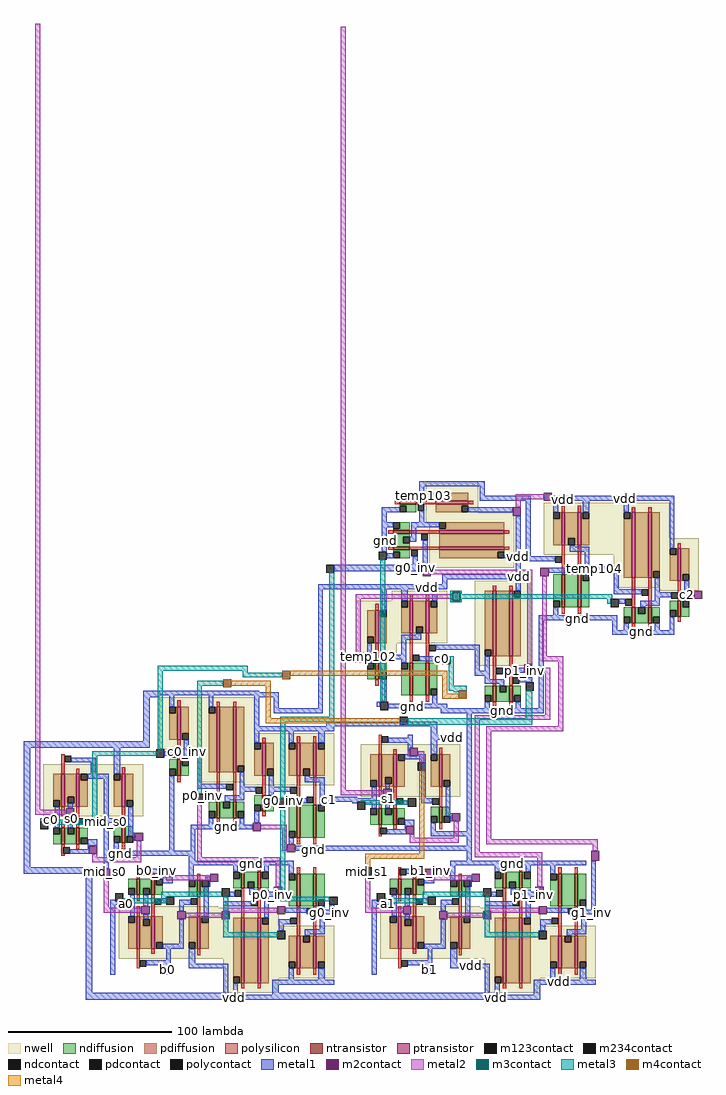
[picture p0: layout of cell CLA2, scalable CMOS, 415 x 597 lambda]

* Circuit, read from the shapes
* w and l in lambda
.subckt CLA2 a0 a1 b0 b0_inv b1 b1_inv c0 c0_inv c1 c2 g0_inv g1_inv gnd mid_s0 mid_s1 p0_inv p1_inv s0 s1 temp100 temp101 temp102 temp103 temp104 vdd
M1 s0 n1 c0 VSUBS nfet w=10 l=2
M2 n1 c0 s0 VSUBS nfet w=10 l=2
M3 n1 mid_s0 gnd VSUBS nfet w=10 l=2
M4 mid_s0 b0_inv a0 VSUBS nfet w=10 l=2
M5 b0_inv a0 mid_s0 VSUBS nfet w=10 l=2
M6 c0_inv c0 gnd VSUBS nfet w=10 l=2
M7 b0_inv b0 gnd VSUBS nfet w=10 l=2
M8 n2 p0_inv gnd VSUBS nfet w=10 l=2
M9 gnd c0_inv n2 VSUBS nfet w=10 l=2
M10 p0_inv a0 gnd VSUBS nfet w=10 l=2
M11 gnd b0 p0_inv VSUBS nfet w=10 l=2
M12 temp100 n2 gnd VSUBS nfet w=10 l=2
M13 n3 a0 gnd VSUBS nfet w=20 l=2
M14 n4 temp100 gnd VSUBS nfet w=20 l=2
M15 g0_inv b0 n3 VSUBS nfet w=20 l=2
M16 c1 g0_inv n4 VSUBS nfet w=20 l=2
M17 gnd n5 temp102 VSUBS nfet w=10 l=2
M18 s1 n6 c1 VSUBS nfet w=10 l=2
M19 n6 c1 s1 VSUBS nfet w=10 l=2
M20 n7 g0_inv gnd VSUBS nfet w=10 l=2
M21 gnd p1_inv n7 VSUBS nfet w=10 l=2
M22 mid_s1 b1_inv a1 VSUBS nfet w=10 l=2
M23 temp103 n7 gnd VSUBS nfet w=10 l=2
M24 n8 c0 n5 VSUBS nfet w=20 l=2
M25 b1_inv a1 mid_s1 VSUBS nfet w=10 l=2
M26 gnd temp101 n8 VSUBS nfet w=20 l=2
M27 n6 mid_s1 gnd VSUBS nfet w=10 l=2
M28 b1_inv b1 gnd VSUBS nfet w=10 l=2
M29 temp101 p1_inv gnd VSUBS nfet w=10 l=2
M30 p1_inv a1 gnd VSUBS nfet w=10 l=2
M31 gnd p0_inv temp101 VSUBS nfet w=10 l=2
M32 gnd b1 p1_inv VSUBS nfet w=10 l=2
M33 n9 a1 gnd VSUBS nfet w=20 l=2
M34 n10 temp103 gnd VSUBS nfet w=20 l=2
M35 g1_inv b1 n9 VSUBS nfet w=20 l=2
M36 temp104 g1_inv n10 VSUBS nfet w=20 l=2
M37 n11 temp102 gnd VSUBS nfet w=10 l=2
M38 gnd temp104 n11 VSUBS nfet w=10 l=2
M39 c2 n11 gnd VSUBS nfet w=10 l=2
M40 s0 mid_s0 c0 n12 pfet w=20 l=2
M41 mid_s0 c0 s0 n12 pfet w=20 l=2
M42 n1 mid_s0 vdd n12 pfet w=20 l=2
M43 mid_s0 b0 a0 n13 pfet w=20 l=2
M44 b0 a0 mid_s0 n13 pfet w=20 l=2
M45 c0_inv c0 vdd n14 pfet w=20 l=2
M46 b0_inv b0 vdd n13 pfet w=20 l=2
M47 n15 p0_inv vdd n14 pfet w=40 l=2
M48 n2 c0_inv n15 n14 pfet w=40 l=2
M49 n16 a0 vdd n13 pfet w=40 l=2
M50 p0_inv b0 n16 n13 pfet w=40 l=2
M51 temp100 n2 vdd n14 pfet w=20 l=2
M52 g0_inv a0 vdd n13 pfet w=20 l=2
M53 c1 temp100 vdd n14 pfet w=20 l=2
M54 vdd b0 g0_inv n13 pfet w=20 l=2
M55 vdd g0_inv c1 n14 pfet w=20 l=2
M56 vdd n5 temp102 n17 pfet w=20 l=2
M57 s1 mid_s1 c1 n18 pfet w=20 l=2
M58 mid_s1 c1 s1 n18 pfet w=20 l=2
M59 mid_s1 b1 a1 n19 pfet w=20 l=2
M60 n5 c0 vdd n17 pfet w=20 l=2
M61 b1 a1 mid_s1 n19 pfet w=20 l=2
M62 vdd temp101 n5 n17 pfet w=20 l=2
M63 temp103 n7 vdd n20 pfet w=20 l=2
M64 n6 mid_s1 vdd n18 pfet w=20 l=2
M65 n21 g0_inv vdd n20 pfet w=40 l=2
M66 n7 p1_inv n21 n20 pfet w=40 l=2
M67 b1_inv b1 vdd n19 pfet w=20 l=2
M68 n22 p1_inv temp101 n23 pfet w=40 l=2
M69 n24 a1 vdd n19 pfet w=40 l=2
M70 vdd p0_inv n22 n23 pfet w=40 l=2
M71 p1_inv b1 n24 n19 pfet w=40 l=2
M72 g1_inv a1 vdd n19 pfet w=20 l=2
M73 temp104 temp103 vdd n25 pfet w=20 l=2
M74 vdd b1 g1_inv n19 pfet w=20 l=2
M75 vdd g1_inv temp104 n25 pfet w=20 l=2
M76 n26 temp102 vdd n25 pfet w=40 l=2
M77 n11 temp104 n26 n25 pfet w=40 l=2
M78 c2 n11 vdd n25 pfet w=20 l=2
.ends

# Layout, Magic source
magic
tech scmos
<< nwell >>
rect -389 279 -357 298
rect -389 273 -335 279
rect -387 245 -335 273
rect -317 263 -240 285
rect -317 253 -222 263
rect -410 225 -376 231
rect -432 199 -376 225
rect -432 193 -407 199
rect -359 185 -325 237
rect -274 233 -222 253
rect -246 231 -222 233
rect -552 144 -494 166
rect -552 134 -445 144
rect -623 93 -562 125
rect -528 114 -445 134
rect -500 112 -445 114
rect -429 105 -368 137
rect -577 37 -516 38
rect -417 37 -356 38
rect -577 26 -479 37
rect -417 26 -319 37
rect -577 6 -445 26
rect -417 6 -285 26
rect -513 -6 -445 6
rect -353 -6 -285 6
rect -513 -15 -479 -6
rect -353 -15 -319 -6
<< ntransistor >>
rect -405 284 -395 286
rect -409 266 -399 268
rect -409 256 -399 258
rect -306 221 -304 241
rect -296 221 -294 241
rect -263 211 -261 221
rect -253 211 -251 221
rect -235 215 -233 225
rect -420 177 -418 187
rect -399 167 -397 187
rect -389 167 -387 187
rect -348 163 -346 173
rect -338 163 -336 173
rect -541 118 -539 128
rect -517 92 -515 102
rect -507 92 -505 102
rect -489 96 -487 106
rect -612 76 -610 86
rect -603 76 -601 86
rect -575 77 -573 87
rect -468 80 -466 100
rect -458 80 -456 100
rect -418 88 -416 98
rect -409 88 -407 98
rect -381 89 -379 99
rect -566 45 -564 55
rect -557 45 -555 55
rect -529 44 -527 54
rect -502 49 -500 59
rect -492 49 -490 59
rect -468 38 -466 58
rect -458 38 -456 58
rect -406 45 -404 55
rect -397 45 -395 55
rect -369 44 -367 54
rect -342 49 -340 59
rect -332 49 -330 59
rect -308 38 -306 58
rect -298 38 -296 58
<< ptransistor >>
rect -383 284 -363 286
rect -381 266 -341 268
rect -306 259 -304 279
rect -296 259 -294 279
rect -381 256 -341 258
rect -420 199 -418 219
rect -399 205 -397 225
rect -389 205 -387 225
rect -348 191 -346 231
rect -338 191 -336 231
rect -263 239 -261 279
rect -253 239 -251 279
rect -235 237 -233 257
rect -541 140 -539 160
rect -612 99 -610 119
rect -603 99 -601 119
rect -575 99 -573 119
rect -517 120 -515 160
rect -507 120 -505 160
rect -489 118 -487 138
rect -468 118 -466 138
rect -458 118 -456 138
rect -418 111 -416 131
rect -409 111 -407 131
rect -381 111 -379 131
rect -566 12 -564 32
rect -557 12 -555 32
rect -529 12 -527 32
rect -502 -9 -500 31
rect -492 -9 -490 31
rect -468 0 -466 20
rect -458 0 -456 20
rect -406 12 -404 32
rect -397 12 -395 32
rect -369 12 -367 32
rect -342 -9 -340 31
rect -332 -9 -330 31
rect -308 0 -306 20
rect -298 0 -296 20
<< ndiffusion >>
rect -405 287 -399 291
rect -405 286 -395 287
rect -405 283 -395 284
rect -401 279 -395 283
rect -405 269 -399 273
rect -409 268 -399 269
rect -409 264 -399 266
rect -409 260 -403 264
rect -409 258 -399 260
rect -409 255 -399 256
rect -405 251 -399 255
rect -311 225 -306 241
rect -307 221 -306 225
rect -304 221 -296 241
rect -294 237 -293 241
rect -294 221 -289 237
rect -268 215 -263 221
rect -264 211 -263 215
rect -261 217 -259 221
rect -255 217 -253 221
rect -261 211 -253 217
rect -251 215 -246 221
rect -240 219 -235 225
rect -236 215 -235 219
rect -233 221 -232 225
rect -233 215 -228 221
rect -251 211 -250 215
rect -421 183 -420 187
rect -425 177 -420 183
rect -418 181 -413 187
rect -418 177 -417 181
rect -400 183 -399 187
rect -404 167 -399 183
rect -397 167 -389 187
rect -387 171 -382 187
rect -387 167 -386 171
rect -353 167 -348 173
rect -349 163 -348 167
rect -346 169 -344 173
rect -340 169 -338 173
rect -346 163 -338 169
rect -336 167 -331 173
rect -336 163 -335 167
rect -546 122 -541 128
rect -542 118 -541 122
rect -539 124 -538 128
rect -539 118 -534 124
rect -522 96 -517 102
rect -518 92 -517 96
rect -515 98 -513 102
rect -509 98 -507 102
rect -515 92 -507 98
rect -505 96 -500 102
rect -494 100 -489 106
rect -490 96 -489 100
rect -487 102 -486 106
rect -487 96 -482 102
rect -505 92 -504 96
rect -613 82 -612 86
rect -617 76 -612 82
rect -610 82 -608 86
rect -604 82 -603 86
rect -610 76 -603 82
rect -601 80 -596 86
rect -601 76 -600 80
rect -580 81 -575 87
rect -576 77 -575 81
rect -573 81 -568 87
rect -573 77 -572 81
rect -473 84 -468 100
rect -469 80 -468 84
rect -466 80 -458 100
rect -456 96 -455 100
rect -456 80 -451 96
rect -419 94 -418 98
rect -423 88 -418 94
rect -416 94 -414 98
rect -410 94 -409 98
rect -416 88 -409 94
rect -407 92 -402 98
rect -407 88 -406 92
rect -386 93 -381 99
rect -382 89 -381 93
rect -379 93 -374 99
rect -379 89 -378 93
rect -571 49 -566 55
rect -567 45 -566 49
rect -564 49 -557 55
rect -564 45 -562 49
rect -558 45 -557 49
rect -555 51 -554 55
rect -503 55 -502 59
rect -555 45 -550 51
rect -530 50 -529 54
rect -534 44 -529 50
rect -527 50 -526 54
rect -527 44 -522 50
rect -507 49 -502 55
rect -500 53 -492 59
rect -500 49 -498 53
rect -494 49 -492 53
rect -490 55 -489 59
rect -490 49 -485 55
rect -469 54 -468 58
rect -473 38 -468 54
rect -466 38 -458 58
rect -456 42 -451 58
rect -411 49 -406 55
rect -407 45 -406 49
rect -404 49 -397 55
rect -404 45 -402 49
rect -398 45 -397 49
rect -395 51 -394 55
rect -343 55 -342 59
rect -395 45 -390 51
rect -370 50 -369 54
rect -456 38 -455 42
rect -374 44 -369 50
rect -367 50 -366 54
rect -367 44 -362 50
rect -347 49 -342 55
rect -340 53 -332 59
rect -340 49 -338 53
rect -334 49 -332 53
rect -330 55 -329 59
rect -330 49 -325 55
rect -309 54 -308 58
rect -313 38 -308 54
rect -306 38 -298 58
rect -296 42 -291 58
rect -296 38 -295 42
<< pdiffusion >>
rect -379 287 -363 291
rect -383 286 -363 287
rect -383 283 -363 284
rect -383 279 -367 283
rect -307 275 -306 279
rect -377 269 -341 273
rect -381 268 -341 269
rect -381 258 -341 266
rect -311 259 -306 275
rect -304 263 -296 279
rect -304 259 -302 263
rect -298 259 -296 263
rect -294 275 -293 279
rect -294 259 -289 275
rect -264 275 -263 279
rect -381 255 -341 256
rect -381 251 -345 255
rect -400 221 -399 225
rect -425 203 -420 219
rect -421 199 -420 203
rect -418 215 -417 219
rect -418 199 -413 215
rect -404 205 -399 221
rect -397 209 -389 225
rect -397 205 -395 209
rect -391 205 -389 209
rect -387 221 -386 225
rect -387 205 -382 221
rect -353 195 -348 231
rect -349 191 -348 195
rect -346 191 -338 231
rect -336 227 -335 231
rect -336 191 -331 227
rect -268 239 -263 275
rect -261 239 -253 279
rect -251 243 -246 279
rect -251 239 -250 243
rect -236 253 -235 257
rect -240 237 -235 253
rect -233 241 -228 257
rect -233 237 -232 241
rect -542 156 -541 160
rect -546 140 -541 156
rect -539 144 -534 160
rect -539 140 -538 144
rect -518 156 -517 160
rect -617 103 -612 119
rect -613 99 -612 103
rect -610 105 -603 119
rect -610 101 -608 105
rect -604 101 -603 105
rect -610 99 -603 101
rect -601 115 -600 119
rect -601 99 -596 115
rect -576 115 -575 119
rect -580 99 -575 115
rect -573 103 -568 119
rect -522 120 -517 156
rect -515 120 -507 160
rect -505 124 -500 160
rect -505 120 -504 124
rect -490 134 -489 138
rect -573 99 -572 103
rect -494 118 -489 134
rect -487 122 -482 138
rect -487 118 -486 122
rect -469 134 -468 138
rect -473 118 -468 134
rect -466 122 -458 138
rect -466 118 -464 122
rect -460 118 -458 122
rect -456 134 -455 138
rect -456 118 -451 134
rect -423 115 -418 131
rect -419 111 -418 115
rect -416 117 -409 131
rect -416 113 -414 117
rect -410 113 -409 117
rect -416 111 -409 113
rect -407 127 -406 131
rect -407 111 -402 127
rect -382 127 -381 131
rect -386 111 -381 127
rect -379 115 -374 131
rect -379 111 -378 115
rect -567 28 -566 32
rect -571 12 -566 28
rect -564 30 -557 32
rect -564 26 -562 30
rect -558 26 -557 30
rect -564 12 -557 26
rect -555 16 -550 32
rect -555 12 -554 16
rect -534 16 -529 32
rect -530 12 -529 16
rect -527 28 -526 32
rect -527 12 -522 28
rect -507 -5 -502 31
rect -503 -9 -502 -5
rect -500 -9 -492 31
rect -490 27 -489 31
rect -490 -9 -485 27
rect -407 28 -406 32
rect -473 4 -468 20
rect -469 0 -468 4
rect -466 16 -464 20
rect -460 16 -458 20
rect -466 0 -458 16
rect -456 4 -451 20
rect -411 12 -406 28
rect -404 30 -397 32
rect -404 26 -402 30
rect -398 26 -397 30
rect -404 12 -397 26
rect -395 16 -390 32
rect -395 12 -394 16
rect -374 16 -369 32
rect -370 12 -369 16
rect -367 28 -366 32
rect -367 12 -362 28
rect -456 0 -455 4
rect -347 -5 -342 31
rect -343 -9 -342 -5
rect -340 -9 -332 31
rect -330 27 -329 31
rect -330 -9 -325 27
rect -313 4 -308 20
rect -309 0 -308 4
rect -306 16 -304 20
rect -300 16 -298 20
rect -306 0 -298 16
rect -296 4 -291 20
rect -296 0 -295 4
<< ndcontact >>
rect -399 287 -395 291
rect -405 279 -401 283
rect -409 269 -405 273
rect -403 260 -399 264
rect -409 251 -405 255
rect -311 221 -307 225
rect -293 237 -289 241
rect -268 211 -264 215
rect -259 217 -255 221
rect -240 215 -236 219
rect -232 221 -228 225
rect -250 211 -246 215
rect -425 183 -421 187
rect -417 177 -413 181
rect -404 183 -400 187
rect -386 167 -382 171
rect -353 163 -349 167
rect -344 169 -340 173
rect -335 163 -331 167
rect -546 118 -542 122
rect -538 124 -534 128
rect -522 92 -518 96
rect -513 98 -509 102
rect -494 96 -490 100
rect -486 102 -482 106
rect -504 92 -500 96
rect -617 82 -613 86
rect -608 82 -604 86
rect -600 76 -596 80
rect -580 77 -576 81
rect -572 77 -568 81
rect -473 80 -469 84
rect -455 96 -451 100
rect -423 94 -419 98
rect -414 94 -410 98
rect -406 88 -402 92
rect -386 89 -382 93
rect -378 89 -374 93
rect -571 45 -567 49
rect -562 45 -558 49
rect -554 51 -550 55
rect -507 55 -503 59
rect -534 50 -530 54
rect -526 50 -522 54
rect -498 49 -494 53
rect -489 55 -485 59
rect -473 54 -469 58
rect -411 45 -407 49
rect -402 45 -398 49
rect -394 51 -390 55
rect -347 55 -343 59
rect -374 50 -370 54
rect -455 38 -451 42
rect -366 50 -362 54
rect -338 49 -334 53
rect -329 55 -325 59
rect -313 54 -309 58
rect -295 38 -291 42
<< pdcontact >>
rect -383 287 -379 291
rect -367 279 -363 283
rect -311 275 -307 279
rect -381 269 -377 273
rect -302 259 -298 263
rect -293 275 -289 279
rect -268 275 -264 279
rect -345 251 -341 255
rect -404 221 -400 225
rect -425 199 -421 203
rect -417 215 -413 219
rect -395 205 -391 209
rect -386 221 -382 225
rect -353 191 -349 195
rect -335 227 -331 231
rect -250 239 -246 243
rect -240 253 -236 257
rect -232 237 -228 241
rect -546 156 -542 160
rect -538 140 -534 144
rect -522 156 -518 160
rect -617 99 -613 103
rect -608 101 -604 105
rect -600 115 -596 119
rect -580 115 -576 119
rect -504 120 -500 124
rect -494 134 -490 138
rect -572 99 -568 103
rect -486 118 -482 122
rect -473 134 -469 138
rect -464 118 -460 122
rect -455 134 -451 138
rect -423 111 -419 115
rect -414 113 -410 117
rect -406 127 -402 131
rect -386 127 -382 131
rect -378 111 -374 115
rect -571 28 -567 32
rect -562 26 -558 30
rect -554 12 -550 16
rect -534 12 -530 16
rect -526 28 -522 32
rect -507 -9 -503 -5
rect -489 27 -485 31
rect -411 28 -407 32
rect -473 0 -469 4
rect -464 16 -460 20
rect -402 26 -398 30
rect -394 12 -390 16
rect -374 12 -370 16
rect -366 28 -362 32
rect -455 0 -451 4
rect -347 -9 -343 -5
rect -329 27 -325 31
rect -313 0 -309 4
rect -304 16 -300 20
rect -295 0 -291 4
<< polysilicon >>
rect -408 284 -405 286
rect -395 284 -383 286
rect -363 284 -360 286
rect -306 279 -304 283
rect -296 279 -294 283
rect -263 279 -261 282
rect -253 279 -251 282
rect -412 266 -409 268
rect -399 266 -381 268
rect -341 266 -338 268
rect -412 256 -409 258
rect -399 256 -381 258
rect -341 256 -338 258
rect -306 241 -304 259
rect -296 241 -294 259
rect -348 231 -346 234
rect -338 231 -336 234
rect -399 225 -397 229
rect -389 225 -387 229
rect -420 219 -418 223
rect -420 187 -418 199
rect -399 187 -397 205
rect -389 187 -387 205
rect -235 257 -233 260
rect -263 221 -261 239
rect -253 221 -251 239
rect -235 225 -233 237
rect -306 217 -304 221
rect -296 217 -294 221
rect -235 212 -233 215
rect -263 208 -261 211
rect -253 208 -251 211
rect -420 173 -418 177
rect -348 173 -346 191
rect -338 173 -336 191
rect -541 160 -539 164
rect -399 163 -397 167
rect -389 163 -387 167
rect -517 160 -515 163
rect -507 160 -505 163
rect -348 160 -346 163
rect -338 160 -336 163
rect -612 119 -610 131
rect -541 128 -539 140
rect -603 119 -601 122
rect -575 119 -573 123
rect -489 138 -487 141
rect -468 138 -466 142
rect -458 138 -456 142
rect -541 114 -539 118
rect -517 102 -515 120
rect -507 102 -505 120
rect -418 131 -416 143
rect -409 131 -407 134
rect -381 131 -379 135
rect -489 106 -487 118
rect -612 93 -610 99
rect -612 86 -610 90
rect -603 86 -601 99
rect -575 87 -573 99
rect -468 100 -466 118
rect -458 100 -456 118
rect -418 105 -416 111
rect -489 93 -487 96
rect -517 89 -515 92
rect -507 89 -505 92
rect -418 98 -416 102
rect -409 98 -407 111
rect -381 99 -379 111
rect -418 86 -416 88
rect -418 82 -417 86
rect -409 85 -407 88
rect -381 85 -379 89
rect -418 81 -416 82
rect -612 74 -610 76
rect -612 70 -611 74
rect -603 73 -601 76
rect -575 73 -573 77
rect -468 76 -466 80
rect -458 76 -456 80
rect -612 69 -610 70
rect -566 61 -564 62
rect -566 57 -565 61
rect -502 59 -500 62
rect -492 59 -490 62
rect -566 55 -564 57
rect -557 55 -555 58
rect -529 54 -527 58
rect -566 41 -564 45
rect -566 32 -564 38
rect -557 32 -555 45
rect -468 58 -466 62
rect -458 58 -456 62
rect -406 61 -404 62
rect -529 32 -527 44
rect -502 31 -500 49
rect -492 31 -490 49
rect -406 57 -405 61
rect -342 59 -340 62
rect -332 59 -330 62
rect -406 55 -404 57
rect -397 55 -395 58
rect -369 54 -367 58
rect -406 41 -404 45
rect -566 0 -564 12
rect -557 9 -555 12
rect -529 8 -527 12
rect -468 20 -466 38
rect -458 20 -456 38
rect -406 32 -404 38
rect -397 32 -395 45
rect -308 58 -306 62
rect -298 58 -296 62
rect -369 32 -367 44
rect -342 31 -340 49
rect -332 31 -330 49
rect -406 0 -404 12
rect -397 9 -395 12
rect -369 8 -367 12
rect -468 -4 -466 0
rect -458 -4 -456 0
rect -308 20 -306 38
rect -298 20 -296 38
rect -308 -4 -306 0
rect -298 -4 -296 0
rect -502 -12 -500 -9
rect -492 -12 -490 -9
rect -342 -12 -340 -9
rect -332 -12 -330 -9
<< polycontact >>
rect -394 280 -390 284
rect -392 262 -388 266
rect -398 252 -394 256
rect -310 248 -306 252
rect -300 242 -296 246
rect -418 188 -414 192
rect -397 188 -393 192
rect -387 194 -383 198
rect -267 222 -263 226
rect -257 228 -253 232
rect -239 226 -235 230
rect -346 180 -342 184
rect -336 174 -332 178
rect -610 126 -606 130
rect -545 129 -541 133
rect -521 103 -517 107
rect -511 109 -507 113
rect -416 138 -412 142
rect -493 107 -489 111
rect -472 107 -468 111
rect -601 88 -597 92
rect -579 88 -575 92
rect -462 101 -458 105
rect -407 100 -403 104
rect -385 100 -381 104
rect -417 82 -413 86
rect -611 70 -607 74
rect -565 57 -561 61
rect -506 44 -502 48
rect -555 39 -551 43
rect -533 39 -529 43
rect -496 38 -492 42
rect -405 57 -401 61
rect -564 1 -560 5
rect -472 27 -468 31
rect -462 33 -458 37
rect -346 44 -342 48
rect -395 39 -391 43
rect -373 39 -369 43
rect -336 38 -332 42
rect -404 1 -400 5
rect -312 27 -308 31
rect -302 33 -298 37
<< metal1 >>
rect -393 295 -353 298
rect -393 291 -390 295
rect -395 288 -383 291
rect -356 289 -353 295
rect -356 286 -325 289
rect -312 286 -237 289
rect -416 279 -405 282
rect -416 273 -413 279
rect -393 273 -390 280
rect -363 279 -336 282
rect -416 270 -409 273
rect -416 255 -413 270
rect -398 270 -381 273
rect -398 264 -395 270
rect -399 261 -395 264
rect -413 251 -409 254
rect -397 247 -394 252
rect -445 243 -394 247
rect -391 245 -388 262
rect -334 254 -331 277
rect -341 251 -331 254
rect -334 241 -331 251
rect -328 252 -325 286
rect -311 279 -308 286
rect -293 279 -289 286
rect -268 279 -265 286
rect -301 258 -298 259
rect -301 255 -289 258
rect -328 249 -310 252
rect -292 246 -289 255
rect -240 257 -237 286
rect -379 238 -331 241
rect -314 242 -300 245
rect -292 243 -271 246
rect -292 241 -289 243
rect -379 235 -376 238
rect -455 232 -376 235
rect -562 169 -491 170
rect -562 167 -479 169
rect -562 166 -552 167
rect -562 139 -558 166
rect -546 160 -543 167
rect -522 160 -519 167
rect -494 166 -479 167
rect -494 148 -491 166
rect -482 159 -479 166
rect -455 159 -452 232
rect -416 219 -413 232
rect -404 225 -400 232
rect -385 225 -382 232
rect -334 231 -331 238
rect -274 232 -271 243
rect -274 229 -257 232
rect -249 230 -246 239
rect -231 230 -228 237
rect -249 227 -239 230
rect -271 223 -267 226
rect -249 225 -246 227
rect -231 227 -225 230
rect -231 225 -228 227
rect -258 222 -246 225
rect -258 221 -255 222
rect -311 216 -308 221
rect -320 213 -272 216
rect -395 204 -392 205
rect -404 201 -392 204
rect -425 192 -422 199
rect -404 192 -401 201
rect -383 195 -356 198
rect -428 189 -422 192
rect -425 187 -422 189
rect -414 189 -401 192
rect -404 187 -401 189
rect -393 188 -379 191
rect -359 182 -356 195
rect -353 182 -350 191
rect -359 179 -350 182
rect -342 181 -329 184
rect -416 163 -413 177
rect -353 177 -350 179
rect -353 174 -341 177
rect -332 175 -324 178
rect -344 173 -341 174
rect -419 160 -417 163
rect -482 156 -452 159
rect -385 162 -382 167
rect -412 159 -376 162
rect -353 159 -350 163
rect -334 159 -331 163
rect -320 159 -317 213
rect -275 207 -272 213
rect -268 207 -265 211
rect -249 207 -246 211
rect -240 207 -237 215
rect -275 204 -237 207
rect -380 156 -317 159
rect -450 148 -382 151
rect -494 145 -445 148
rect -635 135 -558 139
rect -635 62 -631 135
rect -606 126 -591 129
rect -594 119 -591 126
rect -580 119 -576 135
rect -537 133 -534 140
rect -494 138 -491 145
rect -473 138 -470 145
rect -455 138 -451 145
rect -386 143 -382 148
rect -400 141 -397 143
rect -412 138 -397 141
rect -400 135 -397 138
rect -386 140 -367 143
rect -549 130 -545 133
rect -537 130 -526 133
rect -400 131 -399 135
rect -537 128 -534 130
rect -596 116 -583 119
rect -616 92 -613 99
rect -608 98 -605 101
rect -625 90 -613 92
rect -620 89 -613 90
rect -616 86 -613 89
rect -608 86 -605 93
rect -586 92 -583 116
rect -597 88 -594 91
rect -586 89 -579 92
rect -596 75 -590 79
rect -596 73 -595 75
rect -607 70 -595 73
rect -635 58 -593 62
rect -586 61 -583 89
rect -571 83 -568 99
rect -571 81 -567 83
rect -568 78 -567 81
rect -580 72 -577 77
rect -546 72 -543 118
rect -529 113 -526 130
rect -402 130 -399 131
rect -386 131 -382 140
rect -394 130 -389 131
rect -402 128 -389 130
rect -529 110 -511 113
rect -503 111 -500 120
rect -485 111 -482 118
rect -463 117 -460 118
rect -463 114 -451 117
rect -503 108 -493 111
rect -524 104 -521 107
rect -503 106 -500 108
rect -485 108 -472 111
rect -485 106 -482 108
rect -512 103 -500 106
rect -512 102 -509 103
rect -454 105 -451 114
rect -474 101 -462 104
rect -454 104 -431 105
rect -422 104 -419 111
rect -414 110 -411 113
rect -454 102 -419 104
rect -454 100 -451 102
rect -434 101 -431 102
rect -426 101 -419 102
rect -422 98 -419 101
rect -522 88 -519 92
rect -503 88 -500 92
rect -494 89 -491 96
rect -414 98 -411 105
rect -392 104 -389 128
rect -403 100 -400 103
rect -392 101 -385 104
rect -377 95 -374 111
rect -377 93 -373 95
rect -533 85 -495 88
rect -533 72 -530 85
rect -402 87 -396 91
rect -402 85 -401 87
rect -413 82 -401 85
rect -374 90 -373 93
rect -386 84 -383 89
rect -364 84 -361 156
rect -386 81 -361 84
rect -473 76 -470 80
rect -580 69 -530 72
rect -364 75 -361 81
rect -469 72 -361 75
rect -534 66 -530 69
rect -364 66 -361 72
rect -534 63 -470 66
rect -597 -15 -593 58
rect -561 58 -549 61
rect -550 56 -549 58
rect -550 52 -544 56
rect -534 54 -531 63
rect -507 59 -504 63
rect -488 59 -485 63
rect -524 54 -521 56
rect -522 50 -521 54
rect -473 58 -470 63
rect -374 63 -291 66
rect -401 58 -389 61
rect -390 56 -389 58
rect -582 41 -579 42
rect -570 42 -567 45
rect -574 41 -567 42
rect -582 39 -567 41
rect -582 -4 -579 39
rect -570 32 -567 39
rect -562 38 -559 45
rect -551 40 -548 43
rect -540 39 -533 42
rect -540 35 -537 39
rect -562 30 -559 33
rect -525 32 -522 50
rect -390 52 -384 56
rect -374 54 -371 63
rect -347 59 -344 63
rect -328 59 -325 63
rect -364 54 -361 56
rect -362 50 -361 54
rect -313 58 -310 63
rect -497 48 -494 49
rect -509 44 -506 47
rect -497 47 -485 48
rect -497 45 -482 47
rect -488 44 -477 45
rect -513 38 -496 41
rect -513 35 -510 38
rect -540 15 -537 30
rect -488 31 -485 44
rect -475 34 -462 37
rect -454 36 -451 38
rect -422 41 -419 42
rect -410 42 -407 45
rect -414 41 -407 42
rect -422 39 -407 41
rect -448 36 -445 39
rect -454 33 -445 36
rect -479 27 -472 30
rect -479 23 -476 27
rect -454 24 -451 33
rect -463 21 -451 24
rect -463 20 -460 21
rect -550 12 -537 15
rect -548 5 -545 12
rect -560 2 -545 5
rect -534 3 -530 12
rect -549 -4 -546 2
rect -534 0 -510 3
rect -513 -15 -510 0
rect -597 -16 -510 -15
rect -473 -7 -470 0
rect -455 -7 -451 0
rect -422 -4 -419 39
rect -410 32 -407 39
rect -402 38 -399 45
rect -391 40 -388 43
rect -380 39 -373 42
rect -380 35 -377 39
rect -402 30 -399 33
rect -365 32 -362 50
rect -337 48 -334 49
rect -349 44 -346 47
rect -337 47 -325 48
rect -337 45 -322 47
rect -328 44 -317 45
rect -353 38 -336 41
rect -353 35 -350 38
rect -380 15 -377 30
rect -328 31 -325 44
rect -315 34 -302 37
rect -294 36 -291 38
rect -288 36 -285 66
rect -294 33 -285 36
rect -319 27 -312 30
rect -319 23 -316 27
rect -294 24 -291 33
rect -303 21 -291 24
rect -303 20 -300 21
rect -390 12 -377 15
rect -388 5 -385 12
rect -400 2 -385 5
rect -374 3 -370 12
rect -389 -4 -386 2
rect -374 0 -350 3
rect -507 -16 -504 -9
rect -483 -10 -445 -7
rect -483 -15 -479 -10
rect -353 -15 -350 0
rect -483 -16 -350 -15
rect -313 -7 -310 0
rect -295 -7 -291 0
rect -347 -16 -344 -9
rect -323 -10 -285 -7
rect -323 -16 -319 -10
rect -597 -19 -319 -16
<< m2contact >>
rect -317 286 -312 291
rect -336 277 -331 282
rect -391 240 -386 245
rect -319 240 -314 245
rect -225 226 -220 231
rect -433 187 -428 192
rect -329 181 -324 186
rect -609 93 -604 98
rect -595 70 -590 75
rect -567 78 -562 83
rect -399 130 -394 135
rect -415 105 -410 110
rect -495 84 -490 89
rect -401 82 -396 87
rect -373 90 -368 95
rect -474 71 -469 76
rect -288 66 -283 72
rect -587 56 -582 61
rect -549 56 -544 61
rect -521 53 -516 58
rect -389 56 -384 61
rect -563 33 -558 38
rect -541 30 -536 35
rect -361 53 -356 58
rect -482 45 -477 50
rect -514 30 -509 35
rect -480 33 -475 38
rect -403 33 -398 38
rect -381 30 -376 35
rect -322 45 -317 50
rect -354 30 -349 35
rect -320 33 -315 38
<< metal2 >>
rect -628 97 -625 578
rect -441 109 -438 576
rect -334 287 -317 290
rect -334 282 -331 287
rect -386 241 -324 244
rect -432 226 -373 229
rect -432 192 -429 226
rect -327 186 -324 241
rect -318 191 -315 240
rect -318 188 -305 191
rect -324 181 -313 184
rect -316 155 -313 181
rect -359 152 -313 155
rect -400 130 -399 133
rect -394 130 -390 133
rect -393 126 -390 130
rect -441 106 -415 109
rect -628 94 -609 97
rect -593 68 -590 70
rect -566 68 -563 78
rect -593 65 -563 68
rect -529 68 -526 102
rect -490 85 -474 88
rect -477 72 -474 85
rect -399 80 -396 82
rect -372 80 -369 90
rect -399 77 -369 80
rect -359 71 -356 152
rect -308 148 -305 188
rect -352 145 -305 148
rect -352 79 -349 145
rect -352 76 -284 79
rect -287 72 -284 76
rect -359 68 -318 71
rect -529 65 -478 68
rect -544 56 -521 57
rect -586 37 -583 56
rect -548 54 -521 56
rect -481 50 -478 65
rect -586 34 -563 37
rect -513 37 -510 39
rect -513 35 -480 37
rect -536 31 -514 34
rect -509 34 -480 35
rect -426 37 -423 57
rect -384 56 -361 57
rect -388 54 -361 56
rect -321 50 -318 68
rect -426 34 -403 37
rect -353 37 -350 39
rect -353 35 -320 37
rect -376 31 -354 34
rect -349 34 -320 35
<< m3contact >>
rect -373 225 -368 230
<< m123contact >>
rect -450 242 -445 247
rect -554 129 -549 134
rect -418 250 -413 255
rect -379 186 -374 191
rect -276 221 -271 226
rect -328 170 -323 175
rect -417 158 -412 163
rect -529 102 -524 107
rect -625 85 -620 90
rect -594 87 -589 92
rect -479 99 -474 104
rect -431 97 -426 102
rect -400 99 -395 104
rect -579 41 -574 46
rect -514 44 -509 49
rect -548 39 -543 44
rect -448 39 -443 44
rect -419 41 -414 46
rect -354 44 -349 49
rect -388 39 -383 44
rect -480 18 -475 23
rect -320 18 -315 23
<< metal3 >>
rect -553 182 -498 185
rect -553 134 -550 182
rect -501 181 -498 182
rect -501 178 -477 181
rect -529 173 -513 176
rect -593 130 -554 133
rect -593 92 -590 130
rect -529 107 -526 173
rect -448 154 -445 242
rect -417 163 -414 250
rect -374 230 -367 231
rect -374 225 -373 230
rect -368 229 -367 230
rect -368 226 -275 229
rect -368 225 -367 226
rect -374 224 -367 225
rect -278 223 -276 226
rect -374 186 -372 191
rect -375 173 -372 186
rect -375 170 -364 173
rect -372 169 -369 170
rect -478 151 -445 154
rect -478 104 -475 151
rect -328 153 -324 170
rect -400 149 -324 153
rect -429 102 -400 103
rect -623 90 -594 91
rect -620 88 -594 90
rect -551 44 -514 47
rect -478 44 -475 99
rect -426 100 -400 102
rect -551 43 -548 44
rect -574 41 -548 43
rect -577 40 -548 41
rect -513 22 -510 44
rect -478 41 -448 44
rect -391 44 -354 47
rect -391 43 -388 44
rect -414 41 -388 43
rect -417 40 -388 41
rect -513 19 -480 22
rect -353 22 -350 44
rect -353 19 -320 22
<< m234contact >>
rect -405 149 -400 154
rect -394 121 -389 126
rect -427 57 -422 62
<< m4contact >>
rect -477 177 -472 182
rect -513 172 -508 177
rect -369 165 -364 170
<< metal4 >>
rect -472 179 -376 182
rect -508 173 -484 176
rect -487 153 -484 173
rect -379 168 -376 179
rect -379 165 -369 168
rect -487 150 -405 153
rect -393 70 -390 121
rect -426 67 -390 70
rect -426 62 -423 67
<< labels >>
rlabel metal1 -554 60 -554 60 1 b0_inv
rlabel metal1 -451 33 -445 36 7 g0_inv
rlabel metal1 -485 44 -481 47 1 p0_inv
rlabel metal1 -548 -2 -546 1 1 b0
rlabel metal2 -586 58 -584 60 3 mid_s0
rlabel metal1 -573 39 -571 41 1 a0
rlabel metal1 -506 -18 -506 -17 1 vdd
rlabel metal1 -496 64 -496 64 5 gnd
rlabel metal1 -576 70 -576 70 1 gnd
rlabel metal1 -607 91 -605 93 1 s0
rlabel metal1 -619 90 -617 92 1 c0
rlabel metal1 -586 89 -583 91 1 mid_s0
rlabel metal1 -451 102 -445 105 7 c1
rlabel metal1 -478 102 -474 104 1 g0_inv
rlabel metal1 -458 73 -458 73 1 gnd
rlabel metal1 -484 109 -482 112 1 temp100
rlabel metal1 -511 87 -511 87 1 gnd
rlabel metal1 -536 131 -534 134 1 c0_inv
rlabel metal1 -551 130 -549 132 3 c0
rlabel metal1 -361 2 -361 2 1 vdd
rlabel metal1 -336 64 -336 64 5 gnd
rlabel metal1 -346 -18 -346 -17 1 vdd
rlabel metal1 -307 -8 -307 -8 1 vdd
rlabel metal2 -426 58 -424 60 3 mid_s1
rlabel metal1 -413 39 -411 41 1 a1
rlabel metal1 -388 -2 -386 1 1 b1
rlabel metal1 -325 44 -321 47 1 p1_inv
rlabel metal1 -291 33 -285 36 7 g1_inv
rlabel m2contact -387 59 -385 61 1 b1_inv
rlabel metal1 -413 103 -411 105 1 s1
rlabel metal1 -373 141 -373 141 5 vdd
rlabel metal1 -332 239 -332 240 5 vdd
rlabel metal1 -342 158 -342 158 1 gnd
rlabel metal1 -331 181 -327 183 7 p1_inv
rlabel metal1 -330 175 -325 177 7 p0_inv
rlabel metal1 -358 179 -354 181 3 temp101
rlabel metal1 -388 233 -388 233 5 vdd
rlabel metal1 -397 160 -397 160 1 gnd
rlabel metal1 -381 189 -377 190 1 c0
rlabel metal1 -425 190 -423 192 1 temp102
rlabel metal1 -414 262 -414 262 3 gnd
rlabel metal1 -333 252 -332 252 7 vdd
rlabel metal1 -392 288 -389 291 1 temp103
rlabel metal1 -305 287 -305 287 5 vdd
rlabel metal1 -296 214 -296 214 1 gnd
rlabel metal1 -313 243 -313 243 1 g1_inv
rlabel metal1 -289 243 -283 246 7 temp104
rlabel metal1 -267 287 -267 288 5 vdd
rlabel metal1 -257 206 -257 206 1 gnd
rlabel metal1 -230 228 -228 230 1 c2
rlabel metal1 -397 244 -394 247 1 g0_inv
rlabel metal1 -528 104 -523 107 1 p0_inv
<< end >>
